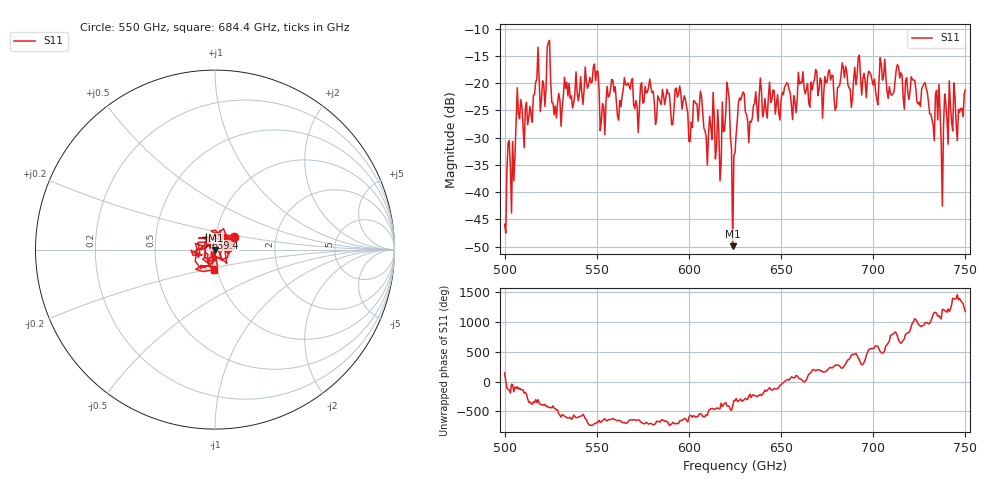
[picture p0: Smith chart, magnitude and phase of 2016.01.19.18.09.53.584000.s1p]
!Created with skrf (http://scikit-rf.org).
# GHz S RI R 50.0
!freq ReS11 ImS11
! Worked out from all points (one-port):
!   401 points, 500 GHz to 750 GHz, reference 50 ohm
!   lowest |S11| = -49.9 dB at 623.8 GHz (marker M1), VSWR 1.01, Z = 50.2 - j0.256 ohm
!   |S11| at or under -10 dB: start of sweep to end of sweep
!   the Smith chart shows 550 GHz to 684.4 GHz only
!   S11 on the Smith chart (normalised r, x): 550 GHz: 1.23, +0.18; 639.4 GHz: 0.90, +0.12; 684.4 GHz: 0.96, -0.22
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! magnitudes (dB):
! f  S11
! 500 GHz  -45.9
! 508.1 GHz  -26.5
! 513.8 GHz  -24.3
! 523.8 GHz  -12.5
! 526.9 GHz  -25.8
! 531.2 GHz  -24.4
! 550 GHz  -17.8
! 553.1 GHz  -23.7
! 558.8 GHz  -19.4
! 562.5 GHz  -23.1
! 593.8 GHz  -22.6
! 616.2 GHz  -29.1
! 621.2 GHz  -21.2
! 623.8 GHz  -49.9
! 625 GHz  -32.7
! 628.1 GHz  -23.1
! 633.1 GHz  -27.0
! 639.4 GHz  -21.6
! 656.2 GHz  -26.7
! 684.4 GHz  -19.0
! 687.5 GHz  -21.1
! 691.2 GHz  -18.5
! 718.8 GHz  -21.6
! 728.1 GHz  -19.9
! 731.9 GHz  -26.7
! 735 GHz  -26.7
! 737.5 GHz  -42.5
! 750 GHz  -21.2
